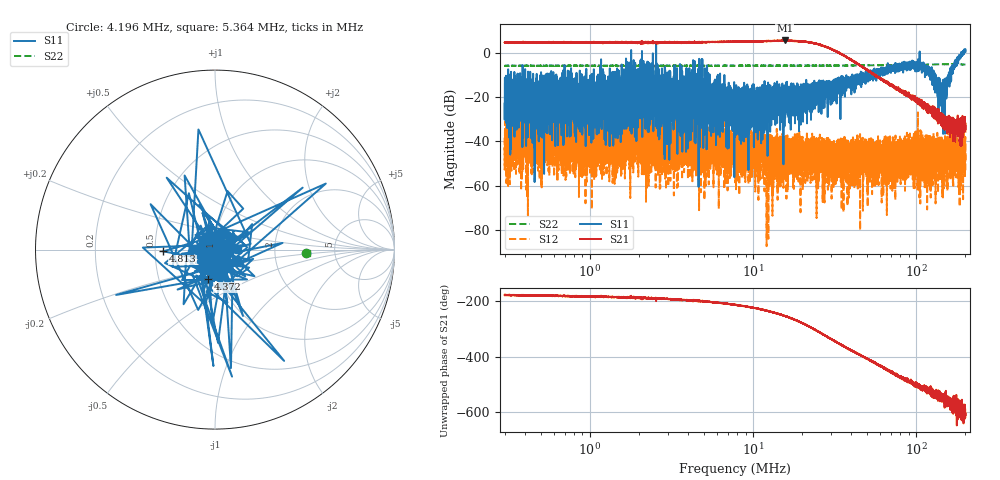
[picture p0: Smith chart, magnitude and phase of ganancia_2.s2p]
# Hz S DB R 50
! CMT, M5065, 19127446, 24.2.4/2
! Date: 11/1/2024 4:14:59 PM
! Data: Format (Calibration Info)
! Freq	S11:dB/Ang(F2)	S21:dB/Ang(F2)	S12:dB/Ang(F2)	S22:dB/Ang(F2)
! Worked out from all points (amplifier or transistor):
!   9000 points, 300 kHz to 200 MHz, reference 50 ohm
!   highest |S21| = 5.5 dB at 15.62 MHz (marker M1)
!   |S21| within 3 dB of that: start of sweep to 28.06 MHz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
!   unconditionally stable (mu >= 1): 2.546 MHz to 104.8 MHz; 105 MHz to 187.8 MHz; 188.1 MHz to 189.6 MHz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
!   at 886.8 kHz: K = 20.82, MAG = 6.0 dB, |S12| = -39.7 dB
!   at 7.749 MHz: K = 37.36, MAG = 6.2 dB, |S12| = -45.0 dB
!   at 200 MHz: K = -1003.45, MSG = 8.7 dB, |S12| = -53.0 dB
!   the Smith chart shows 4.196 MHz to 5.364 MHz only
!   S11 on the Smith chart (normalised r, x): 4.196 MHz: 1.04, +0.20; 4.372 MHz: 0.88, -0.30; 4.813 MHz: 0.55, -0.01; 5.364 MHz: 1.30, -0.00
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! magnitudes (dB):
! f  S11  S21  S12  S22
! 300 kHz  -23.0  4.6  -38.3  -5.9
! 322.9 kHz  -30.3  4.7  -59.3  -5.9
! 599.4 kHz  -18.8  4.8  -37.0  -5.9
! 886.8 kHz  -22.9  4.6  -39.7  -5.9
! 1.176 MHz  -14.5  4.5  -38.5  -5.9
! 1.346 MHz  -22.6  4.6  -39.6  -5.9
! 2.107 MHz  -19.8  4.4  -28.8  -5.8
! 2.621 MHz  -29.4  4.6  -44.8  -5.9
! 4.196 MHz  -20.2  4.6  -34.8  -5.9
! 4.372 MHz  -15.5  4.8  -30.5  -5.9
! 4.813 MHz  -10.8  4.9  -41.7  -5.9
! 5.364 MHz  -17.7  4.8  -36.8  -5.8
! 7.749 MHz  -38.0  4.9  -45.0  -5.9
! 15.62 MHz  -14.7  5.5  -41.2  -5.9
! 22.91 MHz  -18.1  4.4  -45.2  -5.9
! 67.71 MHz  -8.6  -14.0  -46.0  -5.6
! 107.4 MHz  -6.7  -22.1  -35.6  -5.4
! 122.4 MHz  -8.5  -25.7  -52.5  -5.3
! 145.2 MHz  -23.4  -30.5  -51.4  -5.2
! 169.3 MHz  -7.2  -32.7  -48.2  -5.3
! 193.5 MHz  0.7  -34.0  -40.9  -5.3
! 200 MHz  0.4  -35.6  -53.0  -5.3
